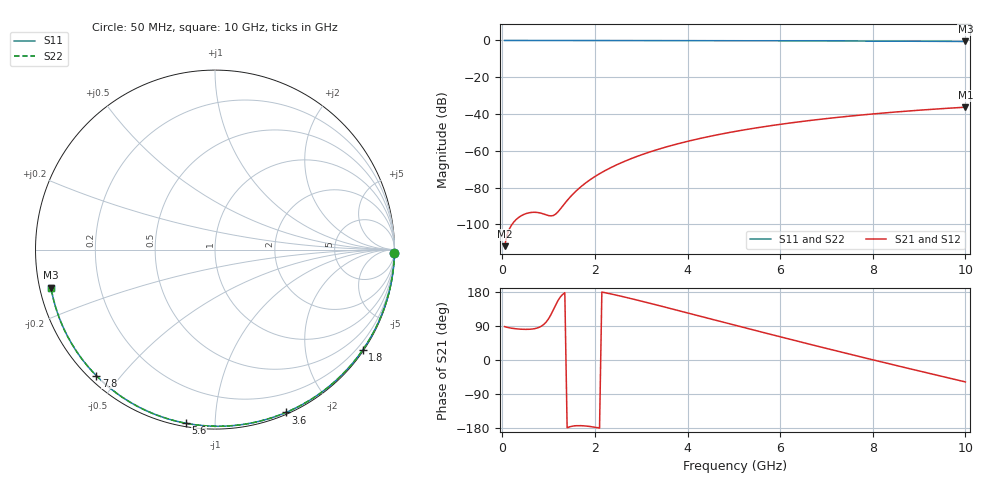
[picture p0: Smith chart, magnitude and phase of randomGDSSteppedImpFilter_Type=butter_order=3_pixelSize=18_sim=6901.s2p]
! freq	dB(S11)	phase(S11)	dB(S12)	phase(S12)
!  dB(S21)	phase(S21)	dB(S22)	phase(S22)
!S-par simulation data
#  GHz  S  DB  R 50
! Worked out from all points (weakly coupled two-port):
!   200 points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, 50 MHz to 10 GHz, reference 50 ohm
!   highest |S21| = -36.28 dB at 10 GHz (marker M1); lowest = -111.8 dB at 50 MHz (marker M2)
!   lowest |S11| = -0.6 dB at 10 GHz (marker M3), VSWR 31.33, Z = 1.62 - j5.73 ohm
!   |S11| at or under -10 dB: nowhere
!   |S22| runs from -0.6 to 0.0 dB; largest |S21 - S12| = 0
!   S11 on the Smith chart (normalised r, x): 50 MHz: open; 1.8 GHz: 0.03, -3.25; 3.6 GHz: 0.02, -1.53; 5.6 GHz: 0.02, -0.85; 7.8 GHz: 0.02, -0.43; 10 GHz: 0.03, -0.11
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0.05  -0.00 -1.0  -111.83 88.0  -111.83 88.0  -0.00 -1.0
0.45  -0.01 -8.7  -94.76 81.0  -94.76 81.0  -0.01 -8.7
0.85  -0.02 -16.3  -93.99 89.7  -93.99 89.7  -0.02 -16.3
1.65  -0.04 -31.4  -80.54 -173.2  -80.54 -173.2  -0.04 -31.4
1.7  -0.04 -32.3  -79.46 -173.3  -79.46 -173.3  -0.04 -32.3
1.75  -0.04 -33.3  -78.44 -173.6  -78.44 -173.6  -0.04 -33.3
1.8  -0.04 -34.2  -77.46 -174.1  -77.46 -174.1  -0.04 -34.2
2.1  -0.05 -39.7  -72.45 -179.6  -72.45 -179.6  -0.05 -39.7
2.3  -0.06 -43.4  -69.69 175.6  -69.69 175.6  -0.06 -43.4
2.5  -0.06 -47.0  -67.26 170.1  -67.26 170.1  -0.06 -47.0
2.9  -0.07 -54.2  -63.12 158.5  -63.12 158.5  -0.07 -54.2
3.4  -0.08 -63.0  -58.92 143.1  -58.92 143.1  -0.08 -63.0
3.6  -0.09 -66.5  -57.46 136.8  -57.46 136.8  -0.09 -66.5
4.3  -0.11 -78.4  -53.10 114.7  -53.10 114.7  -0.11 -78.4
5.05  -0.14 -90.7  -49.36 91.0  -49.36 91.0  -0.14 -90.7
5.6  -0.17 -99.5  -47.08 73.7  -47.08 73.7  -0.17 -99.5
6.15  -0.19 -108.1  -45.08 56.6  -45.08 56.6  -0.19 -108.1
6.7  -0.23 -116.6  -43.33 39.7  -43.33 39.7  -0.23 -116.6
7.8  -0.31 -133.3  -40.41 6.5  -40.41 6.5  -0.31 -133.3
8.35  -0.36 -141.6  -39.19 -9.9  -39.19 -9.9  -0.36 -141.6
9.2  -0.45 -154.5  -37.56 -34.7  -37.56 -34.7  -0.45 -154.5
10  -0.55 -166.9  -36.28 -57.8  -36.28 -57.8  -0.55 -166.9
